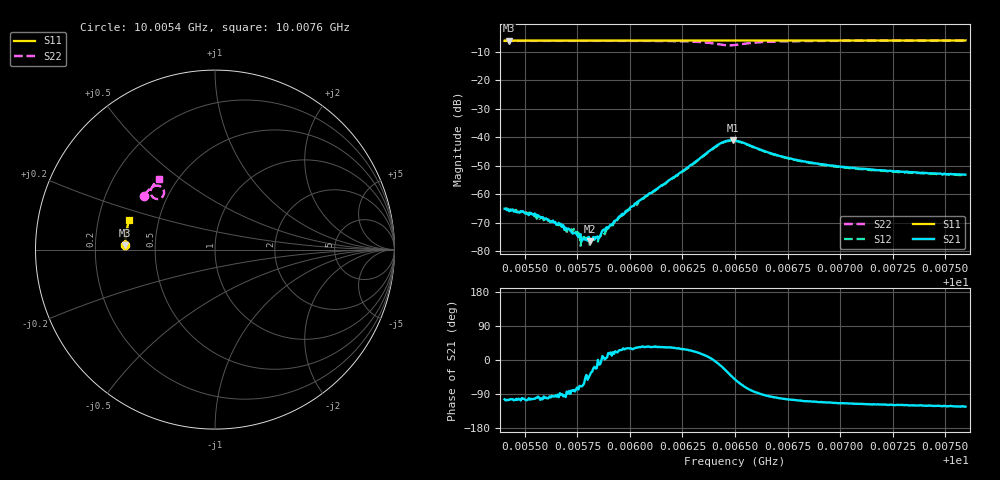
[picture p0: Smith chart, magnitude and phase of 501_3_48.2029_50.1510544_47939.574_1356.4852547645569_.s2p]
#  HZ  S  RI  R  50.00
! Rohde & Schwarz Vector Network Analyzer
! Rohde-Schwarz,ZNB20-2Port,1311601062101988,3.16
! Created: UTC 3/20/2024, 11:58:35 AM
! freq[Hz]  re:S11  im:S11  re:S21  im:S21  re:S12  im:S12  re:S22  im:S22
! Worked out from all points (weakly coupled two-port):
!   401 points, 10.0054 GHz to 10.0076 GHz, reference 50 ohm
!   highest |S21| = -40.99 dB at 10.00649 GHz (marker M1); lowest = -76.5 dB at 10.00581 GHz (marker M2)
!   lowest |S11| = -6.0 dB at 10.00543 GHz (marker M3), VSWR 3.01, Z = 16.6 + j1.09 ohm
!   |S11| at or under -10 dB: nowhere
!   |S22| runs from -7.6 to -6.0 dB; largest |S21 - S12| = 0.00057
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1.0005403e10  -0.5003 0.023  -0.000132 -0.00054  -0.000109 -0.000542  -0.3947 0.3007
1.0005425e10  -0.5002 0.0244  -0.00013 -0.000486  -9.48e-05 -0.000526  -0.3936 0.302
1.0005529e10  -0.5001 0.0314  -9.95e-05 -0.000457  -6.91e-05 -0.000435  -0.3893 0.3082
1.0005557e10  -0.5001 0.0331  -7.31e-05 -0.000403  -6.29e-05 -0.000364  -0.388 0.3099
1.0005672e10  -0.4998 0.0406  -7.5e-06 -0.0003  -3.54e-06 -0.000273  -0.3826 0.3168
1.0005705e10  -0.4997 0.0428  6.88e-06 -0.00025  2.91e-05 -0.000245  -0.3809 0.3188
1.0005743e10  -0.4995 0.0452  4.44e-05 -0.0002  7.5e-05 -0.000206  -0.379 0.3211
1.0005771e10  -0.4995 0.047  5.19e-05 -0.000141  9.3e-05 -0.000161  -0.3775 0.3229
1.0005793e10  -0.4993 0.0485  0.000128 -0.000105  0.000113 -0.000128  -0.3766 0.3242
1.0005809e10  -0.4993 0.0494  0.000115 -9.52e-05  8.76e-05 -8.52e-05  -0.3756 0.3253
1.000582e10  -0.4992 0.0503  0.000139 -8.22e-05  0.000138 -7.07e-05  -0.3749 0.326
1.0005858e10  -0.499 0.0527  0.000183 -3.47e-05  0.000174 -5.63e-05  -0.3729 0.3284
1.000588e10  -0.4989 0.0541  0.000228 7.4e-06  0.000191 5.12e-05  -0.3715 0.3299
1.0005957e10  -0.4985 0.0591  0.00038 0.000185  0.000363 0.00019  -0.3666 0.3349
1.0006138e10  -0.4973 0.0708  0.00109 0.000756  0.00105 0.000789  -0.3511 0.3475
1.0006418e10  -0.4943 0.0888  0.00726 -0.00108  0.00713 -0.000683  -0.2854 0.3299
1.0006489e10  -0.4936 0.0928  0.00624 -0.00637  0.00645 -0.00588  -0.3035 0.2855
1.00065e10  -0.4935 0.0933  0.00549 -0.00687  0.00581 -0.0064  -0.3108 0.2828
1.0006708e10  -0.492 0.1067  -0.000887 -0.00468  -0.000642 -0.00464  -0.3577 0.3275
1.0006867e10  -0.4902 0.1168  -0.00122 -0.00337  -0.00102 -0.00336  -0.3506 0.348
1.0007235e10  -0.4848 0.14  -0.00123 -0.00227  -0.00108 -0.00227  -0.3312 0.3745
1.0007596e10  -0.4785 0.1627  -0.00121 -0.00185  -0.00108 -0.00189  -0.3123 0.3932
